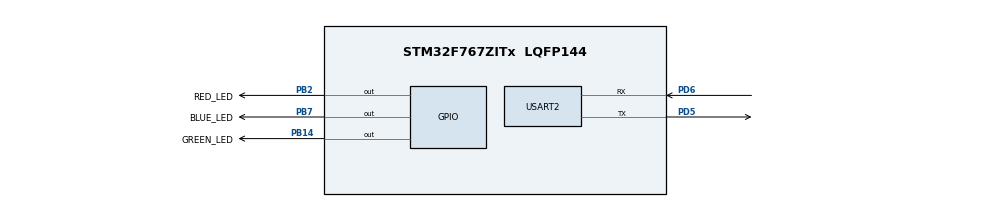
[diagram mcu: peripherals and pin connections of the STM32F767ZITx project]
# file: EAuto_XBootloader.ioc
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CORTEX_M7.CPU_DCache=Disabled
CORTEX_M7.CPU_ICache=Disabled
CORTEX_M7.Enable_Spec=__NULL
CORTEX_M7.MPU_Control=__NULL
CORTEX_M7.default_mode_Activation=0
Mcu.Family=STM32F7
Mcu.Name=STM32F767ZITx
Mcu.Package=LQFP144
NVIC.PriorityGroup=NVIC_PRIORITYGROUP_4
PA13.Mode=Trace_Asynchronous_SW
PA13.Signal=SYS_JTMS-SWDIO
PA14.Mode=Trace_Asynchronous_SW
PA14.Signal=SYS_JTCK-SWCLK
PB14.GPIO_Label=GREEN_LED
PB14.Signal=GPIO_Output
PB2.GPIO_Label=RED_LED
PB2.Signal=GPIO_Output
PB3.Mode=Trace_Asynchronous_SW
PB3.Signal=SYS_JTDO-SWO
PB7.GPIO_Label=BLUE_LED
PB7.Signal=GPIO_Output
PD5.Mode=Asynchronous
PD5.Signal=USART2_TX
PD6.Mode=Asynchronous
PD6.Signal=USART2_RX
ProjectManager.HeapSize=0x200
ProjectManager.StackSize=0x400
ProjectManager.TargetToolchain=STM32CubeIDE
RCC.HSE_VALUE=25000000
RCC.HSI_VALUE=16000000
RCC.LSE_VALUE=32768
RCC.USBFreq_Value=96000000
RCC.VCOOutputFreq_Value=192000000
USART2.VirtualMode-Asynchronous=VM_ASYNC
board=custom

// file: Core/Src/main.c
/* USER CODE BEGIN Header */
/**
  ******************************************************************************
  * @file           : main.c
  * @brief          : Main program body
  ******************************************************************************
  * @attention
  *
  * Copyright (c) 2025 STMicroelectronics.
  * All rights reserved.
  *
  * This software is licensed under terms that can be found in the LICENSE file
  * in the root directory of this software component.
  * If no LICENSE file comes with this software, it is provided AS-IS.
  *
  ******************************************************************************
  */
/* USER CODE END Header */
#include "main.h"
#include "usart.h"
#include "gpio.h"

/* USER CODE BEGIN Includes */
#include "BasicUart.h"
#include "flash.h"
#include "version.h"
#include "XModem.h"
/* USER CODE END Includes */

void SystemClock_Config(void);
/* USER CODE BEGIN PFP */
void welcome_screen (void);
/* USER CODE END PFP */

int main(void)
{

  /* MCU Configuration--------------------------------------------------------*/

  /* Reset of all peripherals, Initializes the Flash interface and the Systick. */
  HAL_Init();

  /* Configure the system clock */
  SystemClock_Config();

  /* Initialize all configured peripherals */
  MX_GPIO_Init();
  MX_USART2_UART_Init();
  /* USER CODE BEGIN 2 */

	// Willkommensbildschirm
	welcome_screen();

	// LEDs definieren
	HAL_GPIO_WritePin(RED_LED_GPIO_Port, RED_LED_Pin, GPIO_PIN_SET);
	HAL_GPIO_WritePin(GREEN_LED_GPIO_Port, GREEN_LED_Pin, GPIO_PIN_SET);
	HAL_GPIO_WritePin(BLUE_LED_GPIO_Port, BLUE_LED_Pin, GPIO_PIN_SET);

	// Abfrage ob Application vorhanden
	// Abfrage nur wenn aus Bootloader gebootet wird. Sollte ueber die Option-Bytes die
	// Bootadresse geaendert werden, kann dieser Schritt uebersprungen werden.
	if (X_OK == app_validation(FLASH_APP_VALID_ADDRESS))
	{
		// Sprung zu Application, wenn vorhanden
		uartTransmitString("Application vorhanden.\n");
		uartTransmitString("Springe zu Benutzer Application...\n");
		flash_jump_to_app();
	}
  /* USER CODE END 2 */

  /* Infinite loop */
	while (1)
	{

		/* USER CODE BEGIN 3 */
		// xmodem dauerhaft Abfragen und auf Upload warten
		// Abbruch durch Benutzer mit "a" oder "A"
		// Abbruch durch Bootloader wenn Timeout erreicht und Application vorhanden
		uartTransmitString("Bitte sende eine neue Binaerdatei mit Xmodemprotokoll um ein Update der Firmware durchzufuehren.\n");
		uartTransmitString("Update kann mit \"a\" or \"A\" abgebrochen werden.\n");
		xmodem_receive();

		// Wenn Xmodem_receive fehlerhaft, dann Fehlermeldung ausgeben und erneut probieren
		uartTransmitString("\nFehler... bitte erneut versuchen.\n");
	}
  /* USER CODE END 3 */
}

void SystemClock_Config(void)
{
  RCC_OscInitTypeDef RCC_OscInitStruct = {0};
  RCC_ClkInitTypeDef RCC_ClkInitStruct = {0};

  /** Configure the main internal regulator output voltage
  */
  __HAL_RCC_PWR_CLK_ENABLE();
  __HAL_PWR_VOLTAGESCALING_CONFIG(PWR_REGULATOR_VOLTAGE_SCALE3);

  /** Initializes the RCC Oscillators according to the specified parameters
  * in the RCC_OscInitTypeDef structure.
  */
  RCC_OscInitStruct.OscillatorType = RCC_OSCILLATORTYPE_HSI;
  RCC_OscInitStruct.HSIState = RCC_HSI_ON;
  RCC_OscInitStruct.HSICalibrationValue = RCC_HSICALIBRATION_DEFAULT;
  RCC_OscInitStruct.PLL.PLLState = RCC_PLL_NONE;
  if (HAL_RCC_OscConfig(&RCC_OscInitStruct) != HAL_OK)
  {
    Error_Handler();
  }

  /** Initializes the CPU, AHB and APB buses clocks
  */
  RCC_ClkInitStruct.ClockType = RCC_CLOCKTYPE_HCLK|RCC_CLOCKTYPE_SYSCLK
                              |RCC_CLOCKTYPE_PCLK1|RCC_CLOCKTYPE_PCLK2;
  RCC_ClkInitStruct.SYSCLKSource = RCC_SYSCLKSOURCE_HSI;
  RCC_ClkInitStruct.AHBCLKDivider = RCC_SYSCLK_DIV1;
  RCC_ClkInitStruct.APB1CLKDivider = RCC_HCLK_DIV1;
  RCC_ClkInitStruct.APB2CLKDivider = RCC_HCLK_DIV1;

  if (HAL_RCC_ClockConfig(&RCC_ClkInitStruct, FLASH_LATENCY_0) != HAL_OK)
  {
    Error_Handler();
  }
}

/* USER CODE BEGIN 4 */

// Willkommensbildschirm
//----------------------------------------------------------------------
void welcome_screen (void)
{
	uartTransmitString("\n\033[2J\033[H\033[38;5;208m");
	uartTransmitString("####################################################################################################\n");
	uartTransmitString("####################################################################################################\n");
	uartTransmitString("####################################################################################################\n");
	uartTransmitString("####################################################################################################\n");
	uartTransmitString("####     ###    ##  ###  ##      ##      ##  ##  ##     ###      ##  ######      ###    ####    ####\n");
	uartTransmitString("####  ##  ###  ###  ###  ##  ########  ####  ##  ##  ##  ####  ####  ######  ######  ##  ##  ##  ###\n");
	uartTransmitString("####  ##  ###  ###  ###  ##  ########  ####  ##  ##  ##  ####  ####  ######  ######  ##  ######  ###\n");
	uartTransmitString("####  ##  ###  ###  ###  ##    ######  ####  ##  ##     #####  ####  ######    #####     ####   ####\n");
	uartTransmitString("####  ##  ###  ####  #  ###  ########  ####  ##  ##  #  #####  ####  ######  ##########  ######  ###\n");
	uartTransmitString("####  ##  ###  ####  #  ###  ########  ####  ##  ##  ##  ####  ####  ######  ##########  ##  ##  ###\n");
	uartTransmitString("####     ###    ####   ####      ####  #####    ###  ##  ####  ####      ##      ###    ####    ####\n");
	uartTransmitString("####################################################################################################\n");
	uartTransmitString("####################################################################################################\n");
	uartTransmitString("####################################################################################################\n");
	uartTransmitString("####################################################################################################\n");
	uartTransmitString("====================================================================================================\n");
	uartTransmitString("----------------------------------------> EAuto Bootloader <----------------------------------------\n");
	uartTransmitString("\tVersion ");
	uartTransmitNumber(VERSION_MAJOR, 10);
	uartTransmitChar('.');
	uartTransmitNumber(VERSION_MINOR, 10);
	uartTransmitChar('.');
	uartTransmitNumber(VERSION_PATCH, 10);
	uartTransmitChar('.');
	uartTransmitNumber(VERSION_DEV, 10);
	uartTransmitChar('\n');
	uartTransmitString("====================================================================================================\n");
	uartTransmitString("\n\033[0;37m");
}
//----------------------------------------------------------------------

/* USER CODE END 4 */

void Error_Handler(void)
{
  /* USER CODE BEGIN Error_Handler_Debug */
	// User can add his own implementation to report the HAL error return state
	__disable_irq();
	while (1)
	{
	}
  /* USER CODE END Error_Handler_Debug */
}
#ifdef USE_FULL_ASSERT
/**
  * @brief  Reports the name of the source file and the source line number
  *         where the assert_param error has occurred.
  * @param  file: pointer to the source file name
  * @param  line: assert_param error line source number
  * @retval None
  */
void assert_failed(uint8_t *file, uint32_t line)
{
  /* USER CODE BEGIN 6 */
	// User can add his own implementation to report the file name and line number,
	// ex: printf("Wrong parameters value: file %s on line %d\r\n", file, line) */
  /* USER CODE END 6 */
}
#endif /* USE_FULL_ASSERT */
